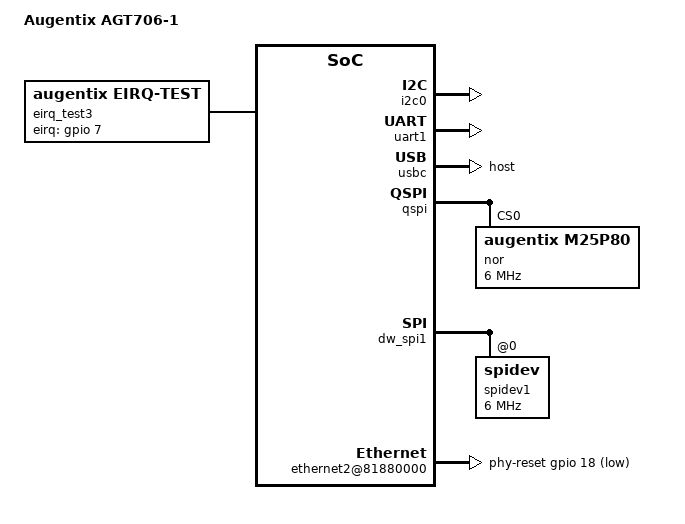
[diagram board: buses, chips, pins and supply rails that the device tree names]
/dts-v1/;
#include "hc1706.dtsi"

/ {
	model = "Augentix AGT706-1";

	cpus {
		enable-method = "augentix,hc1703_1723_1753_1783s-smp";

		cpu@0 {
			reg = <0xF00>;
		};

		cpu@1 {
			compatible = "arm,cortex-a7";
			device_type = "cpu";
#if defined(CONFIG_FPGA)
			clock-frequency = <CONFIG_CPU_FREQUENCY>;
#elif defined(CONFIG_CPU_LOW_SPEED)
			clock-frequency = <450000000>;
#else
			clock-frequency = <891000000>;
#endif
			reg = <0xF01>;
		};
	};

	soc@80000000 {
		i2c0: i2c@80070000 {
			status = "okay";
		};

		i2c1: i2c@80080000 {
			status = "disable";
		};

		i2c2: i2c@80090000 {
			status = "disable";
		};

		uart1: uart@80830000 {
			status = "okay";
		};

		uart2: uart@80840000 {
			status = "disable";
		};

		sdc0: sdc@818A0000 {
			sdc-cd-gpio-num = <45>;
			sdpwren-gpios = <&gpio 46 GPIO_ACTIVE_LOW>;
			status = "okay";
		};

		sdc1_p0: sdc1_p0@818C0000 {
			// status = "okay";
		};

		sdc1_p1: sdc1_p1@818C0000 {
			// status = "okay";
		};

		pwm: pwm@80060000 {
			// status = "okay";
		};

		usbc: usbc@A0000000 {
			dr_mode = "host";
			status = "okay";
		};

		usb2_phy: usbphy@0 {
			status = "okay";
		};

		mpp {
			is@83000000 {
				isw-buf-num = <3>;
			};

			isp@82000000 {
				nrw-buf-num = <1>;
			};

			enc@81001000 {
				bsb-size = <0x200000 0x100000>;
				rd-buf-size = <0x60000>;
				snapshot-size = <0x60000>;
				rd-buf-num = <6>;
			};
		};

		qspi: spi@83610000{
			status = "okay";
			nor@0{
				#address-cells = <1>;
				#size-cells = <1>;
				compatible = "augentix,m25p80", "augentix,spi-nor";
				reg = <0>;
				spi-max-frequency = <6000000>;
				spi-tx-bus-width = <4>;
				spi-rx-bus-width = <4>;
				m25p,fast-read;
				status = "okay";
			};
		};
		dw_spi1: spi@80810000 {
			//status = "okay";
			spidev1: spidev@0 {
				spi-max-frequency = <6000000>;
			};
		};

		gpio: gpio@80001400 {
			pmu_gpio = <0x0>;
			pioc0_gpio = <0x0 0x0>;
			pioc1_gpio = <0x0 0x0>;
			status = "okay";
		};

		gpio_test: gpio_test {
			compatible = "augentix,gpio-test";
			pmuioc-gpios = <&gpio 49 GPIO_ACTIVE_HIGH>, <&gpio 50 GPIO_ACTIVE_HIGH>, <&gpio 51 GPIO_ACTIVE_HIGH>;
			pioc0-gpios = <&gpio 0 GPIO_ACTIVE_HIGH>, <&gpio 15 GPIO_ACTIVE_HIGH>, <&gpio 20 GPIO_ACTIVE_HIGH>, <&gpio 25 GPIO_ACTIVE_HIGH>, <&gpio 31 GPIO_ACTIVE_HIGH>;
			pioc1-gpios = <&gpio 32 GPIO_ACTIVE_HIGH>, <&gpio 40 GPIO_ACTIVE_HIGH>, <&gpio 42 GPIO_ACTIVE_HIGH>, <&gpio 45 GPIO_ACTIVE_HIGH>, <&gpio 48 GPIO_ACTIVE_HIGH>;
			status = "disable";
		};

		clk_test: clk_test {
			compatible = "augentix,clk-test";
			clocks = <&clkc 0>, <&clkc 1>, <&clkc 2>, <&clkc 3>, <&clkc 4>, <&clkc 5>, <&clkc 6>, <&clkc 7>, <&clkc 8>, <&clkc 9>, <&clkc 10>, <&clkc 11>, <&clkc 12>, <&clkc 13>, <&clkc 14>, <&clkc 15>, <&clkc 16>, <&clkc 17>, <&clkc 18>, <&clkc 19>, <&clkc 20>, <&clkc 21>, <&clkc 22>, <&clkc 23>, <&clkc 24>, <&clkc 25>, <&clkc 26>, <&clkc 27>, <&clkc 28>, <&clkc 29>, <&clkc 30>, <&clkc 31>, <&clkc 32>, <&clkc 33>, <&clkc 34>, <&clkc 35>, <&clkc 36>, <&clkc 37>, <&clkc 38>, <&clkc 39>, <&clkc 40>, <&clkc 41>, <&clkc 42>, <&clkc 43>, <&clkc 44>, <&clkc 45>, <&clkc 46>, <&clkc 47>, <&clkc 48>, <&clkc 49>, <&clkc 50>, <&clkc 51>, <&clkc 52>, <&clkc 53>;
			clock-names = "clk_dramc", "clk_dramc_hdr", "clk_axi_dramc", "clk_dma", "clk_apb_spi0", "clk_apb_spi1", "clk_apb_uart0", "clk_apb_uart1", "clk_apb_uart2", "clk_apb_uart3", "clk_apb_uart4", "clk_apb_uart5", "clk_apb_sdc0", "clk_apb_sdc1", "clk_apb_emac", "clk_axi_rom", "clk_axi_ram", "clk_ahb_master", "clk_ahb_usb", "clk_ahb_sdc_0", "clk_ahb_sdc_1", "clk_emac_rgmii", "clk_emac_rmii", "clk_qspi", "clk_isp", "clk_vp", "clk_sensor", "clk_senif", "clk_is", "clk_disp", "clk_sdc_0", "clk_sdc_1", "clk_enc", "clk_efuse", "clk_eirq", "clk_is_lp", "clk_i2cm0", "clk_i2cm1", "clk_spi0", "clk_spi1", "clk_timer0", "clk_timer1", "clk_timer2", "clk_timer3", "clk_pwm_0", "clk_pwm_1", "clk_pwm_2", "clk_pwm_3", "clk_pwm_4", "clk_pwm_5", "clk_audio_in", "clk_audio_out", "clk_usb_utmi";
			clock-frequency = <800000000 400000000 400000000 100000000 250000000 250000000 250000000 250000000 250000000 250000000 250000000 250000000 250000000 250000000 250000000 250000000 250000000 250000000 250000000 250000000 250000000 250000000 50000000 200000000 375000000 375000000 37125000 297000000 445500000 445500000 200000000 200000000 333000000 24000000 24000000 24000000 24000000 24000000 24000000 24000000 24000000 24000000 24000000 24000000 24000000 24000000 50000000 50000000 24000000 24000000 140000000 100000000 60000000>;
			status = "disable";
		};
		eirq_test3: eirq_test3 {
 			compatible = "augentix,eirq-test";
 			interrupt-parent = <&gic>;
 			interrupts = <0 92 4>, <0 93 4>, <0 94 4>, <0 95 4>, <0 96 4>;
			eirq-gpios = <&gpio 7 GPIO_ACTIVE_HIGH>;
 			//status = "okay";
 		};
 
		ethernet2@81880000 {
			status = "okay";
			phy-reset-gpios = <&gpio 18 GPIO_ACTIVE_HIGH>;
		};

		adc@80110000 {
			status = "disable";
		};

		audio_pcm@80120000 {
			status = "okay";
			audio-output-amp-en-gpios = <&gpio 1 GPIO_ACTIVE_HIGH>;
		};

		audio_machine {
			status = "okay";
		};
	};
};
